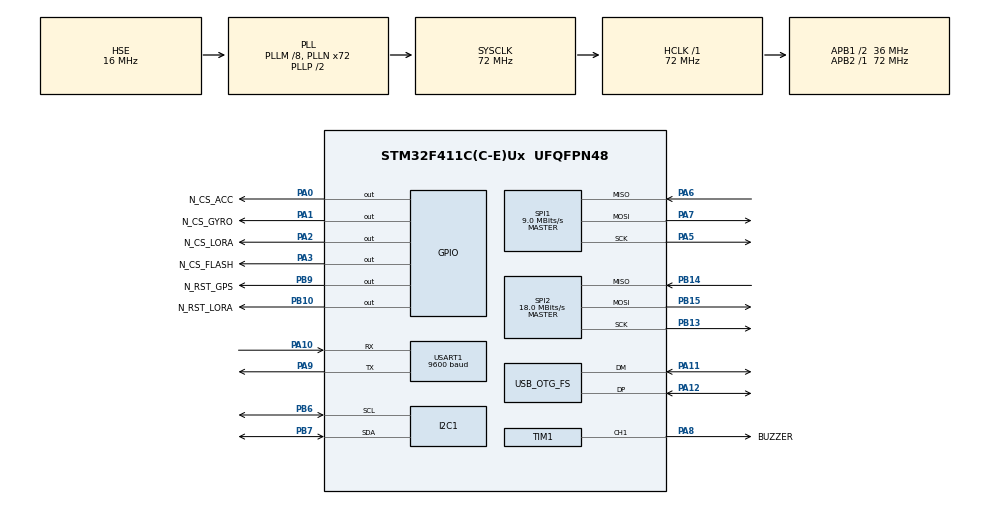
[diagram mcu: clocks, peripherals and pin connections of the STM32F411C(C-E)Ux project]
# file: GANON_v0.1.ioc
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Dma.I2C1_RX.0.Direction=DMA_PERIPH_TO_MEMORY
Dma.I2C1_RX.0.FIFOMode=DMA_FIFOMODE_DISABLE
Dma.I2C1_RX.0.Instance=DMA1_Stream0
Dma.I2C1_RX.0.MemDataAlignment=DMA_MDATAALIGN_BYTE
Dma.I2C1_RX.0.MemInc=DMA_MINC_ENABLE
Dma.I2C1_RX.0.Mode=DMA_NORMAL
Dma.I2C1_RX.0.PeriphDataAlignment=DMA_PDATAALIGN_BYTE
Dma.I2C1_RX.0.PeriphInc=DMA_PINC_DISABLE
Dma.I2C1_RX.0.Priority=DMA_PRIORITY_LOW
Dma.I2C1_TX.1.Direction=DMA_MEMORY_TO_PERIPH
Dma.I2C1_TX.1.FIFOMode=DMA_FIFOMODE_DISABLE
Dma.I2C1_TX.1.Instance=DMA1_Stream1
Dma.I2C1_TX.1.MemDataAlignment=DMA_MDATAALIGN_BYTE
Dma.I2C1_TX.1.MemInc=DMA_MINC_ENABLE
Dma.I2C1_TX.1.Mode=DMA_NORMAL
Dma.I2C1_TX.1.PeriphDataAlignment=DMA_PDATAALIGN_BYTE
Dma.I2C1_TX.1.PeriphInc=DMA_PINC_DISABLE
Dma.I2C1_TX.1.Priority=DMA_PRIORITY_LOW
Dma.Request0=I2C1_RX
Dma.Request1=I2C1_TX
Dma.Request2=SPI1_RX
Dma.Request3=SPI1_TX
Dma.Request4=SPI2_RX
Dma.Request5=SPI2_TX
Dma.Request6=USART1_RX
Dma.Request7=USART1_TX
Dma.SPI1_RX.2.Direction=DMA_PERIPH_TO_MEMORY
Dma.SPI1_RX.2.FIFOMode=DMA_FIFOMODE_DISABLE
Dma.SPI1_RX.2.Instance=DMA2_Stream0
Dma.SPI1_RX.2.MemDataAlignment=DMA_MDATAALIGN_BYTE
Dma.SPI1_RX.2.MemInc=DMA_MINC_ENABLE
Dma.SPI1_RX.2.Mode=DMA_NORMAL
Dma.SPI1_RX.2.PeriphDataAlignment=DMA_PDATAALIGN_BYTE
Dma.SPI1_RX.2.PeriphInc=DMA_PINC_DISABLE
Dma.SPI1_RX.2.Priority=DMA_PRIORITY_LOW
Dma.SPI1_TX.3.Direction=DMA_MEMORY_TO_PERIPH
Dma.SPI1_TX.3.FIFOMode=DMA_FIFOMODE_DISABLE
Dma.SPI1_TX.3.Instance=DMA2_Stream2
Dma.SPI1_TX.3.MemDataAlignment=DMA_MDATAALIGN_BYTE
Dma.SPI1_TX.3.MemInc=DMA_MINC_ENABLE
Dma.SPI1_TX.3.Mode=DMA_NORMAL
Dma.SPI1_TX.3.PeriphDataAlignment=DMA_PDATAALIGN_BYTE
Dma.SPI1_TX.3.PeriphInc=DMA_PINC_DISABLE
Dma.SPI1_TX.3.Priority=DMA_PRIORITY_LOW
Dma.SPI2_RX.4.Direction=DMA_PERIPH_TO_MEMORY
Dma.SPI2_RX.4.FIFOMode=DMA_FIFOMODE_DISABLE
Dma.SPI2_RX.4.Instance=DMA1_Stream3
Dma.SPI2_RX.4.MemDataAlignment=DMA_MDATAALIGN_BYTE
Dma.SPI2_RX.4.MemInc=DMA_MINC_ENABLE
Dma.SPI2_RX.4.Mode=DMA_NORMAL
Dma.SPI2_RX.4.PeriphDataAlignment=DMA_PDATAALIGN_BYTE
Dma.SPI2_RX.4.PeriphInc=DMA_PINC_DISABLE
Dma.SPI2_RX.4.Priority=DMA_PRIORITY_LOW
Dma.SPI2_TX.5.Direction=DMA_MEMORY_TO_PERIPH
Dma.SPI2_TX.5.FIFOMode=DMA_FIFOMODE_DISABLE
Dma.SPI2_TX.5.Instance=DMA1_Stream4
Dma.SPI2_TX.5.MemDataAlignment=DMA_MDATAALIGN_BYTE
Dma.SPI2_TX.5.MemInc=DMA_MINC_ENABLE
Dma.SPI2_TX.5.Mode=DMA_NORMAL
Dma.SPI2_TX.5.PeriphDataAlignment=DMA_PDATAALIGN_BYTE
Dma.SPI2_TX.5.PeriphInc=DMA_PINC_DISABLE
Dma.SPI2_TX.5.Priority=DMA_PRIORITY_LOW
Dma.USART1_RX.6.Direction=DMA_PERIPH_TO_MEMORY
Dma.USART1_RX.6.FIFOMode=DMA_FIFOMODE_DISABLE
Dma.USART1_RX.6.Instance=DMA2_Stream5
Dma.USART1_RX.6.MemDataAlignment=DMA_MDATAALIGN_BYTE
Dma.USART1_RX.6.MemInc=DMA_MINC_ENABLE
Dma.USART1_RX.6.Mode=DMA_NORMAL
Dma.USART1_RX.6.PeriphDataAlignment=DMA_PDATAALIGN_BYTE
Dma.USART1_RX.6.PeriphInc=DMA_PINC_DISABLE
Dma.USART1_RX.6.Priority=DMA_PRIORITY_LOW
Dma.USART1_TX.7.Direction=DMA_MEMORY_TO_PERIPH
Dma.USART1_TX.7.FIFOMode=DMA_FIFOMODE_DISABLE
Dma.USART1_TX.7.Instance=DMA2_Stream7
Dma.USART1_TX.7.MemDataAlignment=DMA_MDATAALIGN_BYTE
Dma.USART1_TX.7.MemInc=DMA_MINC_ENABLE
Dma.USART1_TX.7.Mode=DMA_NORMAL
Dma.USART1_TX.7.PeriphDataAlignment=DMA_PDATAALIGN_BYTE
Dma.USART1_TX.7.PeriphInc=DMA_PINC_DISABLE
Dma.USART1_TX.7.Priority=DMA_PRIORITY_LOW
Mcu.Family=STM32F4
Mcu.Name=STM32F411C(C-E)Ux
Mcu.Package=UFQFPN48
NVIC.DMA1_Stream0_IRQn=true\:0\:0\:false\:false\:true\:false\:true\:true
NVIC.DMA1_Stream1_IRQn=true\:0\:0\:false\:false\:true\:false\:true\:true
NVIC.DMA1_Stream3_IRQn=true\:0\:0\:false\:false\:true\:false\:true\:true
NVIC.DMA1_Stream4_IRQn=true\:0\:0\:false\:false\:true\:false\:true\:true
NVIC.DMA2_Stream0_IRQn=true\:0\:0\:false\:false\:true\:false\:true\:true
NVIC.DMA2_Stream2_IRQn=true\:0\:0\:false\:false\:true\:false\:true\:true
NVIC.DMA2_Stream5_IRQn=true\:0\:0\:false\:false\:true\:false\:true\:true
NVIC.DMA2_Stream7_IRQn=true\:0\:0\:false\:false\:true\:false\:true\:true
NVIC.OTG_FS_IRQn=true\:0\:0\:false\:false\:true\:false\:true\:true
NVIC.PriorityGroup=NVIC_PRIORITYGROUP_4
NVIC.USART1_IRQn=true\:0\:0\:false\:false\:true\:false\:true\:true
PA0-WKUP.GPIO_Label=N_CS_ACC
PA0-WKUP.PinState=GPIO_PIN_SET
PA0-WKUP.Signal=GPIO_Output
PA1.GPIO_Label=N_CS_GYRO
PA1.PinState=GPIO_PIN_SET
PA1.Signal=GPIO_Output
PA10.Mode=Asynchronous
PA10.Signal=USART1_RX
PA11.Mode=Device_Only
PA11.Signal=USB_OTG_FS_DM
PA12.Mode=Device_Only
PA12.Signal=USB_OTG_FS_DP
PA13.Mode=Serial_Wire
PA13.Signal=SYS_JTMS-SWDIO
PA14.Mode=Serial_Wire
PA14.Signal=SYS_JTCK-SWCLK
PA2.GPIO_Label=N_CS_LORA
PA2.PinState=GPIO_PIN_SET
PA2.Signal=GPIO_Output
PA3.GPIO_Label=N_CS_FLASH
PA3.PinState=GPIO_PIN_SET
PA3.Signal=GPIO_Output
PA5.Mode=Full_Duplex_Master
PA5.Signal=SPI1_SCK
PA6.Mode=Full_Duplex_Master
PA6.Signal=SPI1_MISO
PA7.Mode=Full_Duplex_Master
PA7.Signal=SPI1_MOSI
PA8.GPIO_Label=BUZZER
PA8.Signal=S_TIM1_CH1
PA9.Mode=Asynchronous
PA9.Signal=USART1_TX
PB10.GPIO_Label=N_RST_LORA
PB10.PinState=GPIO_PIN_SET
PB10.Signal=GPIO_Output
PB13.Mode=Full_Duplex_Master
PB13.Signal=SPI2_SCK
PB14.Mode=Full_Duplex_Master
PB14.Signal=SPI2_MISO
PB15.Mode=Full_Duplex_Master
PB15.Signal=SPI2_MOSI
PB6.Mode=I2C
PB6.Signal=I2C1_SCL
PB7.Mode=I2C
PB7.Signal=I2C1_SDA
PB9.GPIO_Label=N_RST_GPS
PB9.PinState=GPIO_PIN_SET
PB9.Signal=GPIO_Output
PC14-OSC32_IN.Mode=LSE-External-Oscillator
PC14-OSC32_IN.Signal=RCC_OSC32_IN
PC15-OSC32_OUT.Mode=LSE-External-Oscillator
PC15-OSC32_OUT.Signal=RCC_OSC32_OUT
PH0\ -\ OSC_IN.Mode=HSE-External-Oscillator
PH0\ -\ OSC_IN.Signal=RCC_OSC_IN
PH1\ -\ OSC_OUT.Mode=HSE-External-Oscillator
PH1\ -\ OSC_OUT.Signal=RCC_OSC_OUT
ProjectManager.HeapSize=0x200
ProjectManager.StackSize=0x400
ProjectManager.TargetToolchain=CMake
RCC.48MHZClocksFreq_Value=48000000
RCC.AHBFreq_Value=72000000
RCC.APB1CLKDivider=RCC_HCLK_DIV2
RCC.APB1Freq_Value=36000000
RCC.APB1TimFreq_Value=72000000
RCC.APB2Freq_Value=72000000
RCC.APB2TimFreq_Value=72000000
RCC.CortexFreq_Value=72000000
RCC.HCLKFreq_Value=72000000
RCC.HSE_VALUE=16000000
RCC.HSI_VALUE=16000000
RCC.PLLM=8
RCC.PLLN=72
RCC.PLLQ=3
RCC.SYSCLKFreq_VALUE=72000000
RCC.SYSCLKSource=RCC_SYSCLKSOURCE_PLLCLK
RCC.VCOOutputFreq_Value=144000000
SH.S_TIM1_CH1.0=TIM1_CH1,PWM Generation1 CH1
SPI1.BaudRatePrescaler=SPI_BAUDRATEPRESCALER_8
SPI1.CalculateBaudRate=9.0 MBits/s
SPI1.Direction=SPI_DIRECTION_2LINES
SPI1.Mode=SPI_MODE_MASTER
SPI1.VirtualType=VM_MASTER
SPI2.BaudRatePrescaler=SPI_BAUDRATEPRESCALER_2
SPI2.CalculateBaudRate=18.0 MBits/s
SPI2.Direction=SPI_DIRECTION_2LINES
SPI2.Mode=SPI_MODE_MASTER
SPI2.VirtualType=VM_MASTER
TIM1.Channel-PWM\ Generation1\ CH1=TIM_CHANNEL_1
TIM1.OCFastMode_PWM-PWM\ Generation1\ CH1=TIM_OCFAST_DISABLE
TIM1.Period=1000
TIM1.Pulse-PWM\ Generation1\ CH1=500
USART1.BaudRate=9600
USART1.VirtualMode=VM_ASYNC
USB_DEVICE.CLASS_NAME_FS=CDC
USB_DEVICE.VirtualMode=Cdc
USB_DEVICE.VirtualModeFS=Cdc_FS
USB_OTG_FS.VirtualMode=Device_Only
VP_TIM1_VS_ClockSourceINT.Mode=Internal
VP_USB_DEVICE_VS_USB_DEVICE_CDC_FS.Mode=CDC_FS
board=custom

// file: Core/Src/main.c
/* USER CODE BEGIN Header */
/**
  ******************************************************************************
  * @file           : main.c
  * @brief          : Main program body
  ******************************************************************************
  * @attention
  *
  * Copyright (c) 2024 STMicroelectronics.
  * All rights reserved.
  *
  * This software is licensed under terms that can be found in the LICENSE file
  * in the root directory of this software component.
  * If no LICENSE file comes with this software, it is provided AS-IS.
  *
  ******************************************************************************
  */
  /* USER CODE END Header */
  /* Includes ------------------------------------------------------------------*/

  /* Private includes ----------------------------------------------------------*/
  /* USER CODE BEGIN Includes */
#include "main.h"

#include "peripherals/dma.h"
#include "peripherals/i2c.h"
#include "peripherals/spi.h"
#include "peripherals/tim.h"
#include "peripherals/usart.h"
#include "peripherals/gpio.h"

#include "usb_device.h"
#include "usbd_cdc_if.h"

#include "drivers/BMI088.h"
#include "drivers/BMP388.h"
#include "drivers/buzzer.h"
#include "drivers/gps.h"
#include "drivers/rfm96w.h"
#include "drivers/w25q_mem.h"

/* USER CODE END Includes */

void SystemClock_Config(void);

/* USER CODE BEGIN 0 */
SONG_BANK song_bank;
MACHINE machine;
SCHEDULER scheduler;
/* USER CODE END 0 */

int main(void) {

    /* MCU Configuration--------------------------------------------------------*/

    /* Reset of all peripherals, Initializes the Flash interface and the Systick. */
    HAL_Init();

    /* Configure the system clock */
    SystemClock_Config();

    /* Initialize all configured peripherals */
    MX_GPIO_Init();
    MX_DMA_Init();
    MX_I2C1_Init();
    MX_SPI1_Init();
    MX_SPI2_Init();
    MX_TIM1_Init();
    MX_USART1_UART_Init();
    MX_USB_DEVICE_Init();
    /* USER CODE BEGIN 2 */

    SPI_HandleTypeDef_flag_init(&hspi1_flag, &hspi1);
    SPI_HandleTypeDef_flag_init(&hspi2_flag, &hspi2);

    // ======================================= Creation of components =======================================

    // looking for max of context sizes for async tasks
    uint8_t length = 21;
    uint32_t arr[21] = {
        sizeof(ASYNC_BMI088_ReadSensorDMA_CONTEXT),

        sizeof(ASYNC_play_note_CONTEXT),

        sizeof(ASYNC_W25Q_ReadStatusReg_CONTEXT),
        sizeof(ASYNC_W25Q_WriteEnable_CONTEXT),
        sizeof(ASYNC_W25Q_WaitForReady_CONTEXT),
        sizeof(ASYNC_W25Q_EarseSector_CONTEXT),
        sizeof(ASYNC_W25Q_EarseAll_CONTEXT),
        sizeof(ASYNC_W25Q_ReadData_CONTEXT),
        sizeof(ASYNC_W25Q_PageProgram_CONTEXT),
        sizeof(ASYNC_W25Q_WriteData_CONTEXT),

        sizeof(ASYNC_fs_read_write_CONTEXT),
        sizeof(ASYNC_fs_read_write_float_CONTEXT),

        sizeof(ASYNC_test_usb_CONTEXT),
        sizeof(ASYNC_update_usb_watchdog_CONTEXT),
        sizeof(ASYNC_send_usb_CONTEXT),
        sizeof(ASYNC_update_IMU_CONTEXT),
        sizeof(ASYNC_test_w25q_1_CONTEXT),
        sizeof(ASYNC_test_fs_CONTEXT),
        sizeof(ASYNC_save_IMU_CONTEXT),
        sizeof(ASYNC_test_w25q_2_CONTEXT),

        sizeof(ASYNC_SPI_TxRx_DMA_CONTEXT)
    };

    uint32_t max = arr[0];
    float mean = 0;
    uint8_t max_idx = 0;
    for (int i = 1; i < length; i++) {
        if (arr[i] > max) {
            max = arr[i];
            max_idx = i;
        }
        mean += arr[i];
    }
    mean /= (float)length;

    W25Q_Chip flash_chip;
    BMI088 imu;
    BMP388_HandleTypeDef bmp;
    RFM96_Chip lora_chip;
    // GPS_t GPS;   <--- GPS is already defined in gps.h
    BUZZER buzzer;

    COMPONENTS components;
    init_components(&components, &flash_chip, &lora_chip, &imu, &bmp, &GPS, &buzzer);

    FLASH_STREAM flash_stream;
    DATAS datas;

    init_machine(&machine, &components, &flash_stream, &datas);

    // ======================================================================================================

    // uint8_t *test1 = (uint8_t*)malloc(sizeof(uint8_t) * 20);

    // for (int i = 0; i < 20; i++) {
    //     test1[i] = i;
    // }

    // uint8_t *test2 =

    __NOP();

    // ======================================================================================================

    init_scheduler(&scheduler);

    __NOP();

    /* USER CODE END 2 */

    /* Infinite loop */
    /* USER CODE BEGIN WHILE */
    while (1) {
        run_scheduler(&scheduler);
        add_task_if_flag(&scheduler, &machine);
        /* USER CODE END WHILE */

    }
}

void SystemClock_Config(void) {
    RCC_OscInitTypeDef RCC_OscInitStruct = { 0 };
    RCC_ClkInitTypeDef RCC_ClkInitStruct = { 0 };

    /** Configure the main internal regulator output voltage
    */
    __HAL_RCC_PWR_CLK_ENABLE();
    __HAL_PWR_VOLTAGESCALING_CONFIG(PWR_REGULATOR_VOLTAGE_SCALE1);

    /** Initializes the RCC Oscillators according to the specified parameters
    * in the RCC_OscInitTypeDef structure.
    */
    RCC_OscInitStruct.OscillatorType = RCC_OSCILLATORTYPE_HSE;
    RCC_OscInitStruct.HSEState = RCC_HSE_ON;
    RCC_OscInitStruct.PLL.PLLState = RCC_PLL_ON;
    RCC_OscInitStruct.PLL.PLLSource = RCC_PLLSOURCE_HSE;
    RCC_OscInitStruct.PLL.PLLM = 8;
    RCC_OscInitStruct.PLL.PLLN = 72;
    RCC_OscInitStruct.PLL.PLLP = RCC_PLLP_DIV2;
    RCC_OscInitStruct.PLL.PLLQ = 3;
    if (HAL_RCC_OscConfig(&RCC_OscInitStruct) != HAL_OK) {
        Error_Handler();
    }

    /** Initializes the CPU, AHB and APB buses clocks
    */
    RCC_ClkInitStruct.ClockType = RCC_CLOCKTYPE_HCLK | RCC_CLOCKTYPE_SYSCLK
        | RCC_CLOCKTYPE_PCLK1 | RCC_CLOCKTYPE_PCLK2;
    RCC_ClkInitStruct.SYSCLKSource = RCC_SYSCLKSOURCE_PLLCLK;
    RCC_ClkInitStruct.AHBCLKDivider = RCC_SYSCLK_DIV1;
    RCC_ClkInitStruct.APB1CLKDivider = RCC_HCLK_DIV2;
    RCC_ClkInitStruct.APB2CLKDivider = RCC_HCLK_DIV1;

    if (HAL_RCC_ClockConfig(&RCC_ClkInitStruct, FLASH_LATENCY_2) != HAL_OK) {
        Error_Handler();
    }
}

/* USER CODE BEGIN 4 */
// ===========================================

void init_components(COMPONENTS* components,
                     W25Q_Chip* flash_chip,
                     RFM96_Chip* lora_chip,
                     BMI088* imu,
                     BMP388_HandleTypeDef* bmp,
                     GPS_t* gps,
                     BUZZER* buzzer) {
    components->flash = flash_chip;
    components->lora = lora_chip;
    components->imu = imu;
    components->bmp = bmp;
    components->gps = gps;
    components->buzzer = buzzer;
}

void init_all_components(COMPONENTS* components) {
    W25Q_Init(components->flash, &hspi2_flag, N_CS_FLASH_GPIO_Port, N_CS_FLASH_Pin, W25Q_Q_FULL_DEVICE_ID);

    BMI088_Init(components->imu, &hspi1_flag, N_CS_ACC_GPIO_Port, N_CS_ACC_Pin, N_CS_GYRO_GPIO_Port, N_CS_GYRO_Pin);

    components->bmp->hi2c = &hi2c1;
    BMP388_Init(components->bmp);

    RFM96_Init(components->lora, &hspi1, N_CS_LORA_GPIO_Port, N_CS_LORA_Pin,
               N_RST_LORA_GPIO_Port, N_RST_LORA_Pin, 433365e3);
    GPS_Init(components->gps, &huart1);

    BUZZER_Init(components->buzzer, &htim1, TIM_CHANNEL_1);
}

// ===========================================

void init_machine(MACHINE* machine, COMPONENTS* components,
                  FLASH_STREAM* flash_stream, DATAS* datas) {
    machine->state = WAIT_USB;

    machine->components = components;
    init_all_components(components);

    machine->flash_stream = flash_stream;
    flash_stream_init(flash_stream, components->flash);

    machine->datas = datas;
    Datas_Init(datas, components->imu, components->bmp, components->gps);

    set_song_bank(&song_bank);

    machine->usb_watchdog_bfr[0] = USBD_BUSY;
    machine->usb_watchdog_bfr[1] = USBD_BUSY;
    machine->usb_watchdog_bfr[2] = USBD_BUSY;

    machine->last_tick = 0;
    machine->last_time = HAL_GetTick();

    // ===== POST VOLE ===== POUR LIRE DIRECTEMENT ======
    // machine->state = WAIT_FOR_SENDING_DATA;
    // flash_stream->write_ptr = 0xffffff;
    // ===== POST VOLE ==================================
}

void add_task_if_flag(SCHEDULER* scheduler, MACHINE* machine) {
    switch (machine->state) {
    case WAIT_USB: {
        machine->state = DEFAULT_STATE;

        TASK *task_buz, *task_usb;

        task_buz = add_task(scheduler, ASYNC_play_note);
        ASYNC_play_note_init(task_buz, machine->components->buzzer,
                             song_bank.beep_0_freqs,
                             song_bank.beep_0_durations, BEEP_SONG_SIZE);

        task_usb = add_task(scheduler, ASYNC_update_usb_watchdog);
        ASYNC_update_usb_watchdog_init(task_usb, machine);
        break; }

    case USB_READY: {
        machine->state = TEST_2;
        break; }

    case TEST_1: {
        machine->state = DEFAULT_STATE;

        TASK *task_buz, *task_imu, *task_usb;

        task_buz = add_task(scheduler, ASYNC_play_note);
        ASYNC_play_note_init(task_buz, machine->components->buzzer,
                             song_bank.beep_2_freqs,
                             song_bank.beep_2_durations, BEEP_SONG_SIZE);

        task_imu = add_task(scheduler, ASYNC_update_IMU);
        ASYNC_update_IMU_init(task_imu, 10);

        task_usb = add_task(scheduler, ASYNC_send_usb);
        ASYNC_send_usb_init(task_usb, 20);
        break; }
    case TEST_2: {
        machine->state = DEFAULT_STATE;

        TASK *task_buz, *task_fs;

        // task_buz = add_task(scheduler, ASYNC_play_note);
        // ASYNC_play_note_init(task_buz, machine->components->buzzer, song_bank.beep_2_freqs,
        //                      song_bank.beep_2_durations, BEEP_SONG_SIZE);

        task_fs = add_task(scheduler, ASYNC_test_fs);
        ASYNC_test_fs_init(task_fs, machine->flash_stream);

        break; }
    case TEST_3: {
        machine->state = DEFAULT_STATE;

        TASK *task = add_task(scheduler, ASYNC_save_IMU);
        ASYNC_save_IMU_init(task);
        break; }
    case TEST_4: {
        machine->state = DEFAULT_STATE;

        TASK *task = add_task(scheduler, ASYNC_test_w25q_2);
        ASYNC_test_w25q_2_init(task, machine->components->flash);
        break; }
    default:
        break;
    }
}

void lora_wait(MACHINE* machine) {
    if (HAL_GetTick() - machine->last_tick > 1000) {
        RFM96_Print(machine->components->lora, ".");
        machine->last_tick = HAL_GetTick();
    }
}

// ===========================================

void update_usb_watchdog(uint8_t *usb_watchdog_bfr) {
    usb_watchdog_bfr[0] = usb_watchdog_bfr[1];
    usb_watchdog_bfr[1] = usb_watchdog_bfr[2];
    usb_watchdog_bfr[2] = CDC_Transmit_FS(NULL, 0);
    HAL_Delay(1);
}

bool is_connected_to_usb(uint8_t *usb_watchdog_bfr) {
    return ((usb_watchdog_bfr[0] == USBD_OK) &&
            (usb_watchdog_bfr[1] == USBD_OK) &&
            (usb_watchdog_bfr[2] == USBD_OK));
}

void ASYNC_update_usb_watchdog_init(TASK *task, MACHINE *machine) {
    ASYNC_update_usb_watchdog_CONTEXT *context = (ASYNC_update_usb_watchdog_CONTEXT*)task->context;

    context->state = &(machine->state);
    context->usb_watchdog_bfr[0] = USBD_BUSY;
    context->usb_watchdog_bfr[1] = USBD_BUSY;
    context->usb_watchdog_bfr[2] = USBD_BUSY;
    context->next_time = 0;
}

void ASYNC_update_usb_watchdog(SCHEDULER *scheduler, TASK *self) {
    ASYNC_update_usb_watchdog_CONTEXT* context = (ASYNC_update_usb_watchdog_CONTEXT*)self->context;
    uint32_t current_time = HAL_GetTick();
    if (current_time >= context->next_time) {
        context->usb_watchdog_bfr[0] = context->usb_watchdog_bfr[1];
        context->usb_watchdog_bfr[1] = context->usb_watchdog_bfr[2];
        context->usb_watchdog_bfr[2] = CDC_Transmit_FS(NULL, 0);
        context->next_time = HAL_GetTick() + 1;

        if (is_connected_to_usb(context->usb_watchdog_bfr)) {
            *(context->state) = USB_READY;
            kill_task(scheduler, self);
        }
    }
}

// ===========================================

void flash_stream_find_last_info_ptr(FLASH_STREAM* stream) {
    uint32_t last_read_ptr, last_write_ptr;
    MACHINE_STATE last_state = DEFAULT_STATE;

    for (stream->last_info_ptr = LAST_INFO_ADDR;
         stream->last_info_ptr > LAST_SECTOR_ADDR + INFO_SIZE && last_state == DEFAULT_STATE;
         stream->last_info_ptr -= INFO_SIZE) {
        load_info_from_flash(stream, &last_read_ptr, &last_write_ptr, &last_state);
    }
    if (last_state != DEFAULT_STATE) {
        stream->last_info_ptr += INFO_SIZE;
    }
    __NOP();
}

void save_data_to_flash(FLASH_STREAM* stream, DATAS datas) {
    float datas_buff[DATA_NUMBER] = { datas.accel[0],
                                      datas.accel[1],
                                      datas.accel[2],
                                      datas.gyro[0],
                                      datas.gyro[1],
                                      datas.gyro[2],
                                      datas.pressure,
                                      datas.temp,
                                      datas.longitude,
                                      datas.latitude,
                                      datas.time };

    flash_stream_write_floats(stream, datas_buff, DATA_NUMBER);
}

void save_info_to_flash(FLASH_STREAM* stream, MACHINE_STATE state) {
    if (stream->last_info_ptr + INFO_SIZE > LAST_SECTOR_ADDR + SECTOR_SIZE) {
        stream->last_info_ptr = LAST_SECTOR_ADDR + INFO_SIZE;
        W25Q_EarseSector(stream->flash_chip, LAST_SECTOR_ADDR);
    }

    uint8_t tx_buff[INFO_SIZE] = { stream->read_ptr >> 24, // First, 4 bytes for read_ptr
                                   stream->read_ptr >> 16,
                                   stream->read_ptr >> 8,
                                   stream->read_ptr >> 0,

                                   stream->write_ptr >> 24, // Second, 4 bytes for write_ptr
                                   stream->write_ptr >> 16,
                                   stream->write_ptr >> 8,
                                   stream->write_ptr >> 0,

                                   state }; // Third, 1 byte for state
    W25Q_PageProgram(stream->flash_chip, tx_buff, stream->last_info_ptr, INFO_SIZE);
    stream->last_info_ptr += INFO_SIZE;
}

void load_info_from_flash(FLASH_STREAM* stream, uint32_t* last_read_ptr,
                          uint32_t* last_write_ptr, MACHINE_STATE* last_state) {
    uint8_t rx_buff[INFO_SIZE];
    uint32_t addr = ((int)(stream->last_info_ptr)) - ((int)INFO_SIZE);

    W25Q_ReadData(stream->flash_chip, rx_buff, addr, INFO_SIZE);
    *last_read_ptr = (rx_buff[0] << 24 | rx_buff[1] << 16 | rx_buff[2] << 8 | rx_buff[3]);
    *last_write_ptr = (rx_buff[4] << 24 | rx_buff[5] << 16 | rx_buff[6] << 8 | rx_buff[7]);
    *last_state = rx_buff[8];
}

// ===========================================

void Datas_Init(DATAS* datas, BMI088* imu, BMP388_HandleTypeDef* bmp, GPS_t* gps) {
    datas->imu = imu;
    datas->bmp = bmp;
    datas->gps = gps;
}

void load_all_datas_from_sensors(DATAS* datas) {
    uint32_t raw_press, raw_temp, sensor_time;
    float press, temp;

    BMI088_ReadAccelerometer(datas->imu);
    datas->accel[0] = datas->imu->acc_mps2[0];
    datas->accel[1] = datas->imu->acc_mps2[1];
    datas->accel[2] = datas->imu->acc_mps2[2];

    BMI088_ReadGyroscope(datas->imu);
    datas->gyro[0] = datas->imu->gyr_rps[0];
    datas->gyro[1] = datas->imu->gyr_rps[1];
    datas->gyro[2] = datas->imu->gyr_rps[2];

    BMP388_ReadRawPressTempTime(datas->bmp, &raw_press, &raw_temp, &sensor_time);
    BMP388_CompensateRawPressTemp(datas->bmp, raw_press, raw_temp, &press, &temp);
    datas->pressure = press;
    datas->temp = temp;

    GPS_UART_Receive(datas->gps);
    datas->longitude = datas->gps->dec_longitude;
    datas->latitude = datas->gps->dec_latitude;

    datas->time = HAL_GetTick();
}

void load_all_datas_from_flash(DATAS* datas, FLASH_STREAM* stream) {
    float datas_buff[DATA_NUMBER];

    flash_stream_read_floats(stream, datas_buff, DATA_NUMBER);

    datas->accel[0]  = datas_buff[0];
    datas->accel[1]  = datas_buff[1];
    datas->accel[2]  = datas_buff[2];
    datas->gyro[0]   = datas_buff[3];
    datas->gyro[1]   = datas_buff[4];
    datas->gyro[2]   = datas_buff[5];
    datas->pressure  = datas_buff[6];
    datas->temp      = datas_buff[7];
    datas->longitude = datas_buff[8];
    datas->latitude  = datas_buff[9];
    datas->time      = datas_buff[10];
}

// =============================================

void get_csv_header(char* buff) {
    sprintf(buff, "accel_x,accel_y,accel_z,gyro_x,gyro_y,gyro_z,pressure,temp,long,lat,time\n");
}

void get_csv_line(DATAS datas, char* buff) {
    char float_convert_buff[256];
    float_format(float_convert_buff, datas.accel[0], 2, 10);
    sprintf(buff, "%s,", float_convert_buff);
    float_format(float_convert_buff, datas.accel[1], 2, 10);
    sprintf(buff, "%s%s,", buff, float_convert_buff);
    float_format(float_convert_buff, datas.accel[2], 2, 10);
    sprintf(buff, "%s%s,", buff, float_convert_buff);
    float_format(float_convert_buff, datas.gyro[0], 2, 10);
    sprintf(buff, "%s%s,", buff, float_convert_buff);
    float_format(float_convert_buff, datas.gyro[1], 2, 10);
    sprintf(buff, "%s%s,", buff, float_convert_buff);
    float_format(float_convert_buff, datas.gyro[2], 2, 10);
    sprintf(buff, "%s%s,", buff, float_convert_buff);
    float_format(float_convert_buff, datas.pressure, 2, 10);
    sprintf(buff, "%s%s,", buff, float_convert_buff);
    float_format(float_convert_buff, datas.temp, 2, 10);
    sprintf(buff, "%s%s,", buff, float_convert_buff);
    float_format(float_convert_buff, datas.longitude, 6, 10);
    sprintf(buff, "%s%s,", buff, float_convert_buff);
    float_format(float_convert_buff, datas.latitude, 6, 10);
    sprintf(buff, "%s%s,", buff, float_convert_buff);
    float_format(float_convert_buff, datas.time, 1, 10);
    sprintf(buff, "%s%s\n", buff, float_convert_buff);
}

void ASYNC_test_usb_init(TASK *task, char *buff, int len, uint32_t delay) {
    ASYNC_test_usb_CONTEXT* context = (ASYNC_test_usb_CONTEXT*)task->context;

    context->buff = buff;
    context->len = len;
    context->index = -1;
    context->next_time = 0;
    context->delay = delay;
}

void ASYNC_test_usb(SCHEDULER *scheduler, TASK *self) {
    ASYNC_test_usb_CONTEXT* context = (ASYNC_test_usb_CONTEXT*)self->context;
    uint32_t current_tick = HAL_GetTick();
    if (context->index == -1) {
        HAL_Delay(1);
        CDC_Transmit_FS((uint8_t*)"START \"", 8);
        context->next_time = current_tick + context->delay;
        context->index = 0;
    } else if (context->index < context->len) {
        if (current_tick >= context->next_time) {
            char* c = context->buff + context->index;
            CDC_Transmit_FS((uint8_t*)c, 1);
            context->index++;
            context->next_time = current_tick + context->delay;
        }
    } else {
        HAL_Delay(1);
        CDC_Transmit_FS((uint8_t*)"\" END\n", 7);
        kill_task(scheduler, self);
    }
}

void ASYNC_send_usb_init(TASK *task, uint32_t delay) {
    ASYNC_send_usb_CONTEXT* context = (ASYNC_send_usb_CONTEXT*)task->context;

    context->next_time = 0;
    context->delay = delay;
}

void ASYNC_send_usb(SCHEDULER *scheduler, TASK *self) {
    ASYNC_send_usb_CONTEXT* context = (ASYNC_send_usb_CONTEXT*)self->context;
    uint32_t current_tick = HAL_GetTick();

    if (current_tick >= context->next_time) {
        char buff[256];
        char acc_x[10], acc_y[10], acc_z[10];
        char gyr_x[10], gyr_y[10], gyr_z[10];
        char time[10];
        // int num_calls = machine.components->imu->num_calls;

        float_format(acc_x, machine.components->imu->acc_mps2[0], 5, 10);
        float_format(acc_y, machine.components->imu->acc_mps2[1], 5, 10);
        float_format(acc_z, machine.components->imu->acc_mps2[2], 5, 10);

        float_format(gyr_x, machine.components->imu->gyr_rps[0], 5, 10);
        float_format(gyr_y, machine.components->imu->gyr_rps[1], 5, 10);
        float_format(gyr_z, machine.components->imu->gyr_rps[2], 5, 10);

        float_format(time, (float)current_tick, 1, 10);

        sprintf(buff, "%s, %s, %s, %s, %s, %s, %s\n", time, acc_x, acc_y, acc_z,
                                                            gyr_x, gyr_y, gyr_z);
        // sprintf(buff, "%s, %s, %s\r\n", acc_x, acc_y, acc_z);
        // sprintf(buff, "%s, %s, %s\r\n", gyr_x, gyr_y, gyr_z);
        CDC_Transmit_FS((uint8_t*)buff, strlen(buff));

        context->next_time = current_tick + context->delay;
    }
}

void ASYNC_update_IMU_init(TASK *task, uint32_t delay) {
    ASYNC_update_IMU_CONTEXT* context = (ASYNC_update_IMU_CONTEXT*)task->context;

    context->continue_update = true;
    context->next_time = 0;
    context->delay = delay;
}

void ASYNC_update_IMU(SCHEDULER *scheduler, TASK *self) {
    ASYNC_update_IMU_CONTEXT* context = (ASYNC_update_IMU_CONTEXT*)self->context;
    uint32_t current_tick = HAL_GetTick();

    if (context->continue_update) {
        if (current_tick >= context->next_time) {

            TASK *task_acc, *task_gyr;

            task_acc = add_task(scheduler, ASYNC_BMI088_ReadAccelerometerDMA);
            ASYNC_BMI088_ReadSensorDMA_init(task_acc, machine.components->imu);

            task_gyr = add_task(scheduler, ASYNC_BMI088_ReadGyroscopeDMA);
            ASYNC_BMI088_ReadSensorDMA_init(task_gyr, machine.components->imu);

            context->next_time = current_tick + context->delay;
        }
    } else {
        kill_task(scheduler, self);
    }
}

void ASYNC_test_w25q_1_init(TASK *task, W25Q_Chip *flash_chip) {
    ASYNC_test_w25q_1_CONTEXT* context = (ASYNC_test_w25q_1_CONTEXT*)task->context;

    context->flash_chip = flash_chip;

    for (int i = 0; i < 12; i++) {
        context->tx_buffer[i] = i;
    }

    for (int i = 0; i < 12; i++) {
        context->rx_buffer[i] = 0;
    }

    context->state = ASYNC_test_w25q_1_START;
}

void ASYNC_test_w25q_1(SCHEDULER *scheduler, TASK *self) {
    ASYNC_test_w25q_1_CONTEXT* context = (ASYNC_test_w25q_1_CONTEXT*)self->context;

    switch (context->state) {
    case ASYNC_test_w25q_1_START: {
        W25Q_EarseSector(context->flash_chip, 0);

        context->is_done = false;
        TASK *task = add_task(scheduler, ASYNC_W25Q_PageProgram);
        ASYNC_W25Q_PageProgram_init(task, context->flash_chip, context->tx_buffer, 0, 12);
        task->is_done = &(context->is_done);
        context->state = ASYNC_test_w25q_1_WAIT_TX;
        break; }
    case ASYNC_test_w25q_1_WAIT_TX: {
        uint8_t rx_buff[12];

        if (context->is_done) {
            W25Q_ReadData(context->flash_chip, rx_buff, 0, 12);
            context->state = ASYNC_test_w25q_1_DONE_TX;
        }
        break; }
    case ASYNC_test_w25q_1_DONE_TX: {
        context->is_done = false;
        TASK *task = add_task(scheduler, ASYNC_W25Q_ReadData);
        ASYNC_W25Q_ReadData_init(task, context->flash_chip, context->rx_buffer, 0, 12);
        task->is_done = &(context->is_done);
        context->state = ASYNC_test_w25q_1_WAIT_RX;
        break; }
    case ASYNC_test_w25q_1_WAIT_RX: {
        if (context->is_done) {
            context->state = ASYNC_test_w25q_1_DONE_RX;
        }
        break; }
    case ASYNC_test_w25q_1_DONE_RX: {
        kill_task(scheduler, self);
        break; }
    }
}

void ASYNC_test_fs_init(TASK *task, FLASH_STREAM *flash_stream) {
    ASYNC_test_fs_CONTEXT* context = (ASYNC_test_fs_CONTEXT*)task->context;

    context->flash_stream = flash_stream;

    context->tx_buffer = (float*)malloc(12 * sizeof(float));
    context->rx_buffer = (float*)malloc(12 * sizeof(float));

    for (int i = 0; i < 4; i++) {
        context->tx_buffer[i + 0] = 31.4 + 1/((float)i + 2.0);
        context->tx_buffer[i + 4] = 69.0 + 1/((float)i + 2.0);
        context->tx_buffer[i + 8] = 42.0 + 1/((float)i + 2.0);
    }

    memset(context->rx_buffer, 0, 12 * sizeof(float));

    context->idx = 0;
    context->state = ASYNC_test_fs_START;
}

void ASYNC_test_fs(SCHEDULER *scheduler, TASK *self) {
    ASYNC_test_fs_CONTEXT* context = (ASYNC_test_fs_CONTEXT*)self->context;

    switch (context->state) {
    case ASYNC_test_fs_START: {
        W25Q_EarseSector(context->flash_stream->flash_chip, 0);
        // W25Q_EarseAll(context->flash_stream->flash_chip);
        W25Q_WaitForReady(context->flash_stream->flash_chip);
        context->state = ASYNC_test_fs_START_TX;
        break; }
    case ASYNC_test_fs_START_TX: {
        context->is_done = false;
        TASK *task = add_task(scheduler, ASYNC_fs_write_floats);
        ASYNC_fs_read_write_floats_init(task, context->flash_stream,
                                       context->tx_buffer + 4 * context->idx, 4);

        task->is_done = &(context->is_done);
        context->state = ASYNC_test_fs_WAIT_TX;
        break; }
    case ASYNC_test_fs_WAIT_TX: {
        if (context->is_done) {
            if (context->idx < 3) {
                context->idx += 1;
                context->state = ASYNC_test_fs_START_TX;
            } else {
                context->idx = 0;
                context->state = ASYNC_test_fs_DONE_TX;
            }
        }
        break; }
    case ASYNC_test_fs_DONE_TX: {
        uint8_t rx_buff[12];
        W25Q_ReadData(context->flash_stream->flash_chip, rx_buff, 0, 12);

        context->is_done = false;
        TASK *task = add_task(scheduler, ASYNC_fs_read_floats);
        ASYNC_fs_read_write_floats_init(task, context->flash_stream,
                                       context->rx_buffer + 4 * context->idx, 4);
        task->is_done = &(context->is_done);
        context->state = ASYNC_test_fs_WAIT_RX;
        break; }
    case ASYNC_test_fs_WAIT_RX: {
        if (context->is_done) {
            if (context->idx < 3) {
                context->idx += 1;
                context->state = ASYNC_test_fs_DONE_TX;
            } else {
                context->state = ASYNC_test_fs_DONE_RX;
            }
        }
        break; }
    case ASYNC_test_fs_DONE_RX: {
        free(context->tx_buffer);
        free(context->rx_buffer);
        kill_task(scheduler, self);
        break; }
    }
}

void ASYNC_save_IMU_init(TASK *task) {
    ASYNC_save_IMU_CONTEXT* context = (ASYNC_save_IMU_CONTEXT*)task->context;

    context->max_delay = 30000; // 10 seconds
    context->imu_delay = 10;
    context->state = ASYNC_save_IMU_START_ERASE;

    context->ready = false;
    context->save_done = false;
}

void ASYNC_save_IMU(SCHEDULER* scheduler, TASK* self) {
    ASYNC_save_IMU_CONTEXT* context = (ASYNC_save_IMU_CONTEXT*)self->context;
    uint32_t current_tick = HAL_GetTick();

    switch (context->state) {
    case ASYNC_save_IMU_START_ERASE: {
        context->ready = false;
        TASK *task = add_task(scheduler, ASYNC_W25Q_EraseAll);
        ASYNC_W25Q_EraseAll_init(task, machine.flash_stream->flash_chip);
        task->is_done = &(context->ready);
        context->state = ASYNC_save_IMU_WAIT_ERASE_TASK;
        break; }
    case ASYNC_save_IMU_WAIT_ERASE_TASK: {
        if (context->ready) {
            context->ready = false;
            TASK *task = add_task(scheduler, ASYNC_W25Q_WaitForReady);
            ASYNC_W25Q_WaitForReady_init(task, machine.flash_stream->flash_chip);
            task->is_done = &(context->ready);
            context->state = ASYNC_save_IMU_WAIT_ERASE_DONE;
        }
        break; }
    case ASYNC_save_IMU_WAIT_ERASE_DONE: {
        if (context->ready) {
            context->state = ASYNC_save_IMU_START_UPDATE;

            TASK *task = add_task(scheduler, ASYNC_play_note);
            ASYNC_play_note_init(task, machine.components->buzzer,
                                 song_bank.beep_1_freqs,
                                 song_bank.beep_1_durations,
                                 BEEP_SONG_SIZE);
        }
        break; }
    case ASYNC_save_IMU_START_UPDATE: {
        context->first_time = current_tick;
        context->task_imu = add_task(scheduler, ASYNC_update_IMU);
        ASYNC_update_IMU_init(context->task_imu, context->imu_delay);

        context->state = ASYNC_save_IMU_WAIT_UPDATE;
        break; }
    case ASYNC_save_IMU_WAIT_UPDATE: {
        if (machine.components->imu->new_acc_data && machine.components->imu->new_gyr_data) {
            machine.components->imu->new_acc_data = false;
            machine.components->imu->new_gyr_data = false;

            context->save_done = false;

            context->datas_buff[0] = machine.components->imu->acc_mps2[0];
            context->datas_buff[1] = machine.components->imu->acc_mps2[1];
            context->datas_buff[2] = machine.components->imu->acc_mps2[2];
            context->datas_buff[3] = machine.components->imu->gyr_rps[0];
            context->datas_buff[4] = machine.components->imu->gyr_rps[1];
            context->datas_buff[5] = machine.components->imu->gyr_rps[2];
            context->datas_buff[6] = (float)current_tick;

            TASK *task = add_task(scheduler, ASYNC_fs_write_floats);
            ASYNC_fs_read_write_floats_init(task, machine.flash_stream,
                                           context->datas_buff, 7);
            task->is_done = &(context->save_done);

            context->state = ASYNC_save_IMU_WAIT_SAVE;
        }
        break; }
    case ASYNC_save_IMU_WAIT_SAVE: {
        if (context->save_done) {
            if (current_tick - context->first_time >= context->max_delay) {
                context->state = ASYNC_save_IMU_END_UPDATE;
            } else {
                context->state = ASYNC_save_IMU_WAIT_UPDATE;
            }
        }
        break; }
    case ASYNC_save_IMU_END_UPDATE: {
        ASYNC_update_IMU_CONTEXT* context_update_imu = (ASYNC_update_IMU_CONTEXT*)(context->task_imu->context);
        context_update_imu->continue_update = false; // stop updating IMU
        context->state = ASYNC_save_IMU_START_LOAD;

        TASK *task = add_task(scheduler, ASYNC_play_note);
        ASYNC_play_note_init(task, machine.components->buzzer,
                             song_bank.beep_2_freqs,
                             song_bank.beep_2_durations,
                             BEEP_SONG_SIZE);
        break; }
    case ASYNC_save_IMU_START_LOAD: {
        context->save_done = false;

        TASK *task = add_task(scheduler, ASYNC_fs_read_floats);
        ASYNC_fs_read_write_floats_init(task, machine.flash_stream,
                                       context->datas_buff, 7);
        task->is_done = &(context->save_done);

        context->state = ASYNC_save_IMU_WAIT_LOAD;
        break; }
    case ASYNC_save_IMU_WAIT_LOAD: {
        if (context->save_done) {
            context->state = ASYNC_save_IMU_START_SEND;
        }
        break; }
    case ASYNC_save_IMU_START_SEND: {
        // uint8_t rx_buff[28*100];
        // W25Q_ReadData(machine.flash_stream->flash_chip, rx_buff, 28*100, 28*100);

        context->next_time = current_tick + 2;
        char buff[256];
        char acc_x[10], acc_y[10], acc_z[10];
        char gyr_x[10], gyr_y[10], gyr_z[10];
        char time[10];

        float_format(acc_x, context->datas_buff[0], 5, 10);
        float_format(acc_y, context->datas_buff[1], 5, 10);
        float_format(acc_z, context->datas_buff[2], 5, 10);

        float_format(gyr_x, context->datas_buff[3], 5, 10);
        float_format(gyr_y, context->datas_buff[4], 5, 10);
        float_format(gyr_z, context->datas_buff[5], 5, 10);

        float_format(time, context->datas_buff[6], 1, 10);

        sprintf(buff, "%s, %s, %s, %s, %s, %s, %s\r\n", acc_x, acc_y, acc_z,
                                                        gyr_x, gyr_y, gyr_z, time);
        CDC_Transmit_FS((uint8_t*)buff, strlen(buff));

        context->state = ASYNC_save_IMU_WAIT_SEND;
        break; }
    case ASYNC_save_IMU_WAIT_SEND: {
        if (current_tick >= context->next_time) {
            if (machine.flash_stream->read_ptr < machine.flash_stream->write_ptr) {
                context->state =  ASYNC_save_IMU_START_LOAD;
            } else {
                context->state = ASYNC_save_IMU_END_SEND;
            }
        }
        break; }
    case ASYNC_save_IMU_END_SEND: {
        kill_task(scheduler, self);
        break; }
    }
}

void ASYNC_test_w25q_2_init(TASK *task, W25Q_Chip *flash_chip) {
    ASYNC_test_w25q_2_CONTEXT *context = (ASYNC_test_w25q_2_CONTEXT*)task->context;

    W25Q_EarseSector(flash_chip, 0);

    context->flash_chip = flash_chip;

    context->tx_buffer = (uint8_t*)malloc(256 * 4 * sizeof(uint8_t));
    context->rx_buffer = (uint8_t*)malloc(256 * 5 * sizeof(uint8_t));

    uint8_t a = (uint8_t)'a';

    for (int i = 0; i < 4; i++) {
        memset(context->tx_buffer + 256 * i, a + i, 256);
    }

    context->state = ASYNC_test_w25q_2_START;
}

void ASYNC_test_w25q_2(SCHEDULER *scheduler, TASK *self) {
    ASYNC_test_w25q_2_CONTEXT *context = (ASYNC_test_w25q_2_CONTEXT*)self->context;

    switch (context->state) {
    case ASYNC_test_w25q_2_START: {
        context->is_done = false;
        TASK *task = add_task(scheduler, ASYNC_W25Q_WriteData);
        ASYNC_W25Q_WriteData_init(task, context->flash_chip, context->tx_buffer, 30, 256 * 4);
        task->is_done = &(context->is_done);
        context->state = ASYNC_test_w25q_2_WAIT;
        break; }
    case ASYNC_test_w25q_2_WAIT: {
        if (context->is_done) {
            uint32_t addr = 0;
            for (uint8_t i = 0; i < 5; i++) {
                addr = i * 256;
                W25Q_ReadData(context->flash_chip,
                    context->rx_buffer + addr, addr, 256);
            }
            context->state = ASYNC_test_w25q_2_END;
        }
        break; }
    case ASYNC_test_w25q_2_END: {
        free(context->tx_buffer);
        free(context->rx_buffer);
        kill_task(scheduler, self);
        break; }
    }
}

// =============================================

/* USER CODE END 4 */

void Error_Handler(void) {
    __disable_irq();
    while (1) {
    }
}
